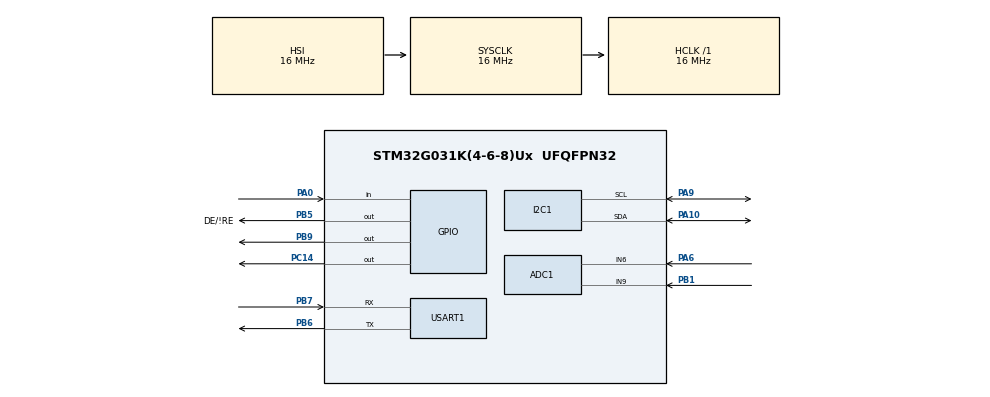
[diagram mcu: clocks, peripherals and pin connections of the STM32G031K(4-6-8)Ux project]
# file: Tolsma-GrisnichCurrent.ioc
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ADC1.Channel-0\#ChannelRegularConversion=ADC_CHANNEL_6
ADC1.NbrOfConversionFlag=1
ADC1.Rank-0\#ChannelRegularConversion=1
ADC1.SamplingTime-0\#ChannelRegularConversion=ADC_SAMPLINGTIME_COMMON_1
ADC1.SelectedChannel=ADC_CHANNEL_6|ADC_CHANNEL_9
ADC1.master=1
CRC.CRCLength=CRC_POLYLENGTH_8B
CRC.DefaultInitValueUse=DEFAULT_INIT_VALUE_ENABLE
CRC.DefaultPolynomialUse=DEFAULT_POLYNOMIAL_DISABLE
Dma.Request0=USART1_RX
Dma.USART1_RX.0.Direction=DMA_PERIPH_TO_MEMORY
Dma.USART1_RX.0.EventEnable=DISABLE
Dma.USART1_RX.0.Instance=DMA1_Channel1
Dma.USART1_RX.0.MemDataAlignment=DMA_MDATAALIGN_BYTE
Dma.USART1_RX.0.MemInc=DMA_MINC_ENABLE
Dma.USART1_RX.0.Mode=DMA_NORMAL
Dma.USART1_RX.0.PeriphDataAlignment=DMA_PDATAALIGN_BYTE
Dma.USART1_RX.0.PeriphInc=DMA_PINC_DISABLE
Dma.USART1_RX.0.Polarity=HAL_DMAMUX_REQ_GEN_RISING
Dma.USART1_RX.0.Priority=DMA_PRIORITY_HIGH
Dma.USART1_RX.0.RequestNumber=1
Dma.USART1_RX.0.SignalID=NONE
Dma.USART1_RX.0.SyncEnable=DISABLE
Dma.USART1_RX.0.SyncPolarity=HAL_DMAMUX_SYNC_NO_EVENT
Dma.USART1_RX.0.SyncRequestNumber=1
Dma.USART1_RX.0.SyncSignalID=NONE
FREERTOS.Mutexes01=CRCMutex,Dynamic,NULL,Available;ADCMutex,Dynamic,NULL,Available;UARTMutex,Dynamic,NULL,Available
FREERTOS.Queues01=uartDataQueue,4,uint32_t,0,Dynamic,NULL,NULL;stroomDataQueue,4,uint16_t,0,Dynamic,NULL,NULL;modeQueue,1,bool,0,Dynamic,NULL,NULL
FREERTOS.Tasks01=UartRegeling,0,128,StartUartRegeling,Default,NULL,Dynamic,NULL,NULL;Stroomregeling,-2,128,StartStroomregeling,Default,NULL,Dynamic,NULL,NULL;ModeSwitchTask,-3,128,StartModeSwitchTask,Default,NULL,Dynamic,NULL,NULL
FREERTOS.configUSE_NEWLIB_REENTRANT=0
I2C1.Timing=0x00503D58
Mcu.Family=STM32G0
Mcu.Name=STM32G031K(4-6-8)Ux
Mcu.Package=UFQFPN32
NVIC.DMA1_Channel1_IRQn=true\:3\:0\:false\:false\:true\:true\:false\:true\:true
NVIC.TIM1_BRK_UP_TRG_COM_IRQn=true\:3\:0\:false\:false\:true\:false\:false\:true\:true
NVIC.TimeBase=TIM1_BRK_UP_TRG_COM_IRQn
NVIC.TimeBaseIP=TIM1
NVIC.USART1_IRQn=true\:3\:0\:false\:false\:true\:true\:true\:true\:true
PA0.Signal=GPIO_Input
PA10.Mode=I2C
PA10.Signal=I2C1_SDA
PA13.Mode=Serial_Wire
PA13.Signal=SYS_SWDIO
PA14-BOOT0.Mode=Serial_Wire
PA14-BOOT0.Signal=SYS_SWCLK
PA6.Mode=IN6
PA6.Signal=ADC1_IN6
PA9.Mode=I2C
PA9.Signal=I2C1_SCL
PB1.Mode=IN9
PB1.Signal=ADC1_IN9
PB5.GPIO_Label=DE/\!RE
PB5.Signal=GPIO_Output
PB6.Mode=Asynchronous
PB6.Signal=USART1_TX
PB7.Mode=Asynchronous
PB7.Signal=USART1_RX
PB9.Signal=GPIO_Output
PC14-OSC32_IN\ (PC14).Signal=GPIO_Output
ProjectManager.HeapSize=0x200
ProjectManager.StackSize=0x400
ProjectManager.TargetToolchain=STM32CubeIDE
RCC.ADCFreq_Value=16000000
RCC.AHBFreq_Value=16000000
RCC.CortexFreq_Value=16000000
RCC.EXTERNAL_CLOCK_VALUE=12288000
RCC.HCLKFreq_Value=16000000
RCC.HSE_VALUE=8000000
RCC.HSI_VALUE=16000000
RCC.LSE_VALUE=32768
RCC.SYSCLKFreq_VALUE=16000000
RCC.VCOOutputFreq_Value=128000000
USART1.Parity=PARITY_NONE
USART1.SwapParam=ADVFEATURE_SWAP_ENABLE
USART1.VirtualMode-Asynchronous=VM_ASYNC
VP_CRC_VS_CRC.Mode=CRC_Activate
VP_FREERTOS_VS_CMSIS_V1.Mode=CMSIS_V1
VP_SYS_VS_tim1.Mode=TIM1
board=custom

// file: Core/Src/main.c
/* USER CODE BEGIN Header */
/**
  ******************************************************************************
  * @file           : main.c
  * @brief          : Main program body
  ******************************************************************************
  * @attention
  *
  * Copyright (c) 2025 STMicroelectronics.
  * All rights reserved.
  *
  * This software is licensed under terms that can be found in the LICENSE file
  * in the root directory of this software component.
  * If no LICENSE file comes with this software, it is provided AS-IS.
  *
  ******************************************************************************
  */
/* USER CODE END Header */
#include "main.h"
#include "cmsis_os.h"

/* USER CODE BEGIN Includes */
#include <stdbool.h>
#include <math.h>
/* USER CODE END Includes */

ADC_HandleTypeDef hadc1;

CRC_HandleTypeDef hcrc;

I2C_HandleTypeDef hi2c1;

UART_HandleTypeDef huart1;
DMA_HandleTypeDef hdma_usart1_rx;

osThreadId UartRegelingHandle;
osThreadId StroomregelingHandle;
osThreadId ModeSwitchTaskHandle;
osMessageQId uartDataQueueHandle;
osMessageQId stroomDataQueueHandle;
osMessageQId modeQueueHandle;
osMutexId CRCMutexHandle;
osMutexId ADCMutexHandle;
osMutexId UARTMutexHandle;
/* USER CODE BEGIN PV */

uint8_t adres = 1;
uint8_t RXData[4];
bool stopRegelingFlag = false;
/* USER CODE END PV */

void SystemClock_Config(void);
static void MX_GPIO_Init(void);
static void MX_DMA_Init(void);
static void MX_ADC1_Init(void);
static void MX_I2C1_Init(void);
static void MX_USART1_UART_Init(void);
static void MX_CRC_Init(void);
void StartUartRegeling(void const * argument);
void StartStroomregeling(void const * argument);
void StartModeSwitchTask(void const * argument);

/* USER CODE BEGIN 0 */

//check of werkt
void calculateMessage(uint16_t data, uint8_t adress, uint8_t* TXData)
{
    // Vul het frame
    TXData[0] = adress;
    TXData[1] = (data >> 8) & 0x0F;   // bovenste 4 bits van 12-bit data
    TXData[2] = data & 0xFF;          // onderste 8 bits

    osMutexWait(CRCMutexHandle, osWaitForever);  // Mutex CRC aan

    //3 bytes array naar een uint32_t
    uint32_t crc_input =	((uint32_t)TXData[0] << 24) |
    						((uint32_t)TXData[1] << 16) |
							((uint32_t)TXData[2] << 8);

    TXData[3] = (uint8_t)HAL_CRC_Calculate(&hcrc, &crc_input, 1);
    __HAL_CRC_DR_RESET(&hcrc);	// Reset CRC
    osMutexRelease(CRCMutexHandle);     // Geef mutex terug
}

bool checkCRCMessage(uint8_t *RXData)
{
	//Mutex claimen
	osMutexWait(CRCMutexHandle, osWaitForever);

    uint32_t crc_input =	((uint32_t)RXData[0] << 24) |
    						((uint32_t)RXData[1] << 16) |
							((uint32_t)RXData[2] << 8);

    uint8_t crc = (uint8_t)HAL_CRC_Calculate(&hcrc, &crc_input, 1);
    //Reset CRC
    __HAL_CRC_DR_RESET(&hcrc);

    //Mutex loslaten
    osMutexRelease(CRCMutexHandle);

    return (crc == RXData[3]);
}

bool isAdresCorrect(uint8_t *RXData, uint8_t adres){
	return (adres == RXData[0]);
}

//Called bij een uart interrupt klaar
void HAL_UART_RxCpltCallback(UART_HandleTypeDef *huart){
    if (huart->Instance != USART1){
    	return;
    }

    //Combineert de 4 byte array en stuurt naar task
    uint32_t RXData32 = ((uint32_t)RXData[0] << 24) |
                		((uint32_t)RXData[1] << 16) |
						((uint32_t)RXData[2] << 8)  |
						((uint32_t)RXData[3]);
    BaseType_t xHigherPriorityTaskWoken = pdFALSE;
	xQueueSendFromISR(uartDataQueueHandle, &RXData32, &xHigherPriorityTaskWoken);
	portYIELD_FROM_ISR(xHigherPriorityTaskWoken);

    //klaar voor volgend bericht
    HAL_GPIO_WritePin(GPIOB, GPIO_PIN_5, GPIO_PIN_RESET); //Receive mode
    //HAL_Delay(10);
	HAL_UART_Receive_DMA(&huart1, RXData, 4);
}

int16_t ADCtoStroom(uint16_t adc_value)
{
	const uint16_t ADC4m  = 891;
	const uint16_t ADC20m = 3883;

    // lineair, ook onder 4m en boven 20m
    return ((int16_t)(adc_value - ADC4m) * 4096) / (ADC20m - ADC4m);
}

void sendDAC(uint16_t DACData){
	//Stuur DAC aan op basis van 12 bit waarde
	//Zonder MUTEX, want maar 1 plek gebruikt het
	if(DACData > 0x0FFF){
		DACData = 0x0FFF;
	}

    uint8_t buffer[3];
    buffer[0] = 0x40;            		// Command byte
    buffer[1] = (DACData >> 4) & 0xFF; 	// Upper 8 bits
    buffer[2] = (DACData & 0x0F) << 4; 	// Lower 4 bits

    //I2C DAC aansturing
    HAL_I2C_Master_Transmit(&hi2c1, (0x61 << 1), buffer, 3, HAL_MAX_DELAY);
}

uint16_t ADCChannelSamples(uint32_t channel, uint8_t ADCSamples)
{
    uint32_t sum = 0;
    ADC_ChannelConfTypeDef sConfig = {0};

    // Mutex claimen
    osMutexWait(ADCMutexHandle, osWaitForever);

    // Channel instellen
    sConfig.Channel = channel;
    sConfig.Rank = ADC_REGULAR_RANK_1;
    sConfig.SamplingTime = ADC_SAMPLINGTIME_COMMON_1;
    HAL_ADC_ConfigChannel(&hadc1, &sConfig);

    // Averaging
    for (uint8_t i = 0; i < ADCSamples; i++) {
        HAL_ADC_Start(&hadc1);
        HAL_ADC_PollForConversion(&hadc1, HAL_MAX_DELAY);
        sum += HAL_ADC_GetValue(&hadc1);
        HAL_ADC_Stop(&hadc1);
    }

    // Mutex loslaten
    osMutexRelease(ADCMutexHandle);

    return (uint16_t)(sum / ADCSamples);
}

static inline float clampf(float x, float min, float max)
{
    if (x < min) return min;
    if (x > max) return max;
    return x;
}

/* USER CODE END 0 */

int main(void)
{

  /* MCU Configuration--------------------------------------------------------*/

  /* Reset of all peripherals, Initializes the Flash interface and the Systick. */
  HAL_Init();

  /* Configure the system clock */
  SystemClock_Config();

  /* Initialize all configured peripherals */
  MX_GPIO_Init();
  MX_DMA_Init();
  MX_ADC1_Init();
  MX_I2C1_Init();
  MX_USART1_UART_Init();
  MX_CRC_Init();
  /* USER CODE BEGIN 2 */

  HAL_GPIO_WritePin(GPIOB, GPIO_PIN_5, GPIO_PIN_RESET); //Receive mode
  HAL_Delay(100);
  HAL_UART_Receive_DMA(&huart1, RXData, 4);

  sendDAC((uint16_t)0);

  /* USER CODE END 2 */

  /* Create the mutex(es) */
  /* definition and creation of CRCMutex */
  osMutexDef(CRCMutex);
  CRCMutexHandle = osMutexCreate(osMutex(CRCMutex));

  /* definition and creation of ADCMutex */
  osMutexDef(ADCMutex);
  ADCMutexHandle = osMutexCreate(osMutex(ADCMutex));

  /* definition and creation of UARTMutex */
  osMutexDef(UARTMutex);
  UARTMutexHandle = osMutexCreate(osMutex(UARTMutex));

  /* Create the queue(s) */
  /* definition and creation of uartDataQueue */
  osMessageQDef(uartDataQueue, 4, uint32_t);
  uartDataQueueHandle = osMessageCreate(osMessageQ(uartDataQueue), NULL);

  /* definition and creation of stroomDataQueue */
  osMessageQDef(stroomDataQueue, 4, uint16_t);
  stroomDataQueueHandle = osMessageCreate(osMessageQ(stroomDataQueue), NULL);

  /* definition and creation of modeQueue */
  osMessageQDef(modeQueue, 1, bool);
  modeQueueHandle = osMessageCreate(osMessageQ(modeQueue), NULL);

  /* Create the thread(s) */
  /* definition and creation of UartRegeling */
  osThreadDef(UartRegeling, StartUartRegeling, osPriorityNormal, 0, 128);
  UartRegelingHandle = osThreadCreate(osThread(UartRegeling), NULL);

  /* definition and creation of Stroomregeling */
  osThreadDef(Stroomregeling, StartStroomregeling, osPriorityLow, 0, 128);
  StroomregelingHandle = osThreadCreate(osThread(Stroomregeling), NULL);

  /* definition and creation of ModeSwitchTask */
  osThreadDef(ModeSwitchTask, StartModeSwitchTask, osPriorityIdle, 0, 128);
  ModeSwitchTaskHandle = osThreadCreate(osThread(ModeSwitchTask), NULL);

  /* Start scheduler */
  osKernelStart();

  /* We should never get here as control is now taken by the scheduler */

  /* Infinite loop */
  while (1)
  {

  }
}

void SystemClock_Config(void)
{
  RCC_OscInitTypeDef RCC_OscInitStruct = {0};
  RCC_ClkInitTypeDef RCC_ClkInitStruct = {0};

  /** Configure the main internal regulator output voltage
  */
  HAL_PWREx_ControlVoltageScaling(PWR_REGULATOR_VOLTAGE_SCALE1);

  /** Initializes the RCC Oscillators according to the specified parameters
  * in the RCC_OscInitTypeDef structure.
  */
  RCC_OscInitStruct.OscillatorType = RCC_OSCILLATORTYPE_HSI;
  RCC_OscInitStruct.HSIState = RCC_HSI_ON;
  RCC_OscInitStruct.HSIDiv = RCC_HSI_DIV1;
  RCC_OscInitStruct.HSICalibrationValue = RCC_HSICALIBRATION_DEFAULT;
  RCC_OscInitStruct.PLL.PLLState = RCC_PLL_NONE;
  if (HAL_RCC_OscConfig(&RCC_OscInitStruct) != HAL_OK)
  {
    Error_Handler();
  }

  /** Initializes the CPU, AHB and APB buses clocks
  */
  RCC_ClkInitStruct.ClockType = RCC_CLOCKTYPE_HCLK|RCC_CLOCKTYPE_SYSCLK
                              |RCC_CLOCKTYPE_PCLK1;
  RCC_ClkInitStruct.SYSCLKSource = RCC_SYSCLKSOURCE_HSI;
  RCC_ClkInitStruct.AHBCLKDivider = RCC_SYSCLK_DIV1;
  RCC_ClkInitStruct.APB1CLKDivider = RCC_HCLK_DIV1;

  if (HAL_RCC_ClockConfig(&RCC_ClkInitStruct, FLASH_LATENCY_0) != HAL_OK)
  {
    Error_Handler();
  }
}

static void MX_ADC1_Init(void)
{

  ADC_ChannelConfTypeDef sConfig = {0};

  /** Configure the global features of the ADC (Clock, Resolution, Data Alignment and number of conversion)
  */
  hadc1.Instance = ADC1;
  hadc1.Init.ClockPrescaler = ADC_CLOCK_SYNC_PCLK_DIV2;
  hadc1.Init.Resolution = ADC_RESOLUTION_12B;
  hadc1.Init.DataAlign = ADC_DATAALIGN_RIGHT;
  hadc1.Init.ScanConvMode = ADC_SCAN_DISABLE;
  hadc1.Init.EOCSelection = ADC_EOC_SINGLE_CONV;
  hadc1.Init.LowPowerAutoWait = DISABLE;
  hadc1.Init.LowPowerAutoPowerOff = DISABLE;
  hadc1.Init.ContinuousConvMode = DISABLE;
  hadc1.Init.NbrOfConversion = 1;
  hadc1.Init.DiscontinuousConvMode = DISABLE;
  hadc1.Init.ExternalTrigConv = ADC_SOFTWARE_START;
  hadc1.Init.ExternalTrigConvEdge = ADC_EXTERNALTRIGCONVEDGE_NONE;
  hadc1.Init.DMAContinuousRequests = DISABLE;
  hadc1.Init.Overrun = ADC_OVR_DATA_PRESERVED;
  hadc1.Init.SamplingTimeCommon1 = ADC_SAMPLETIME_1CYCLE_5;
  hadc1.Init.SamplingTimeCommon2 = ADC_SAMPLETIME_1CYCLE_5;
  hadc1.Init.OversamplingMode = DISABLE;
  hadc1.Init.TriggerFrequencyMode = ADC_TRIGGER_FREQ_HIGH;
  if (HAL_ADC_Init(&hadc1) != HAL_OK)
  {
    Error_Handler();
  }

  /** Configure Regular Channel
  */
  sConfig.Channel = ADC_CHANNEL_6;
  sConfig.Rank = ADC_REGULAR_RANK_1;
  sConfig.SamplingTime = ADC_SAMPLINGTIME_COMMON_1;
  if (HAL_ADC_ConfigChannel(&hadc1, &sConfig) != HAL_OK)
  {
    Error_Handler();
  }

}

static void MX_CRC_Init(void)
{

  hcrc.Instance = CRC;
  hcrc.Init.DefaultPolynomialUse = DEFAULT_POLYNOMIAL_DISABLE;
  hcrc.Init.DefaultInitValueUse = DEFAULT_INIT_VALUE_ENABLE;
  hcrc.Init.GeneratingPolynomial = 7;
  hcrc.Init.CRCLength = CRC_POLYLENGTH_8B;
  hcrc.Init.InputDataInversionMode = CRC_INPUTDATA_INVERSION_NONE;
  hcrc.Init.OutputDataInversionMode = CRC_OUTPUTDATA_INVERSION_DISABLE;
  hcrc.InputDataFormat = CRC_INPUTDATA_FORMAT_BYTES;
  if (HAL_CRC_Init(&hcrc) != HAL_OK)
  {
    Error_Handler();
  }

}

static void MX_I2C1_Init(void)
{

  hi2c1.Instance = I2C1;
  hi2c1.Init.Timing = 0x00503D58;
  hi2c1.Init.OwnAddress1 = 0;
  hi2c1.Init.AddressingMode = I2C_ADDRESSINGMODE_7BIT;
  hi2c1.Init.DualAddressMode = I2C_DUALADDRESS_DISABLE;
  hi2c1.Init.OwnAddress2 = 0;
  hi2c1.Init.OwnAddress2Masks = I2C_OA2_NOMASK;
  hi2c1.Init.GeneralCallMode = I2C_GENERALCALL_DISABLE;
  hi2c1.Init.NoStretchMode = I2C_NOSTRETCH_DISABLE;
  if (HAL_I2C_Init(&hi2c1) != HAL_OK)
  {
    Error_Handler();
  }

  /** Configure Analogue filter
  */
  if (HAL_I2CEx_ConfigAnalogFilter(&hi2c1, I2C_ANALOGFILTER_ENABLE) != HAL_OK)
  {
    Error_Handler();
  }

  /** Configure Digital filter
  */
  if (HAL_I2CEx_ConfigDigitalFilter(&hi2c1, 0) != HAL_OK)
  {
    Error_Handler();
  }

}

static void MX_USART1_UART_Init(void)
{

  huart1.Instance = USART1;
  huart1.Init.BaudRate = 115200;
  huart1.Init.WordLength = UART_WORDLENGTH_8B;
  huart1.Init.StopBits = UART_STOPBITS_1;
  huart1.Init.Parity = UART_PARITY_NONE;
  huart1.Init.Mode = UART_MODE_TX_RX;
  huart1.Init.HwFlowCtl = UART_HWCONTROL_NONE;
  huart1.Init.OverSampling = UART_OVERSAMPLING_16;
  huart1.Init.OneBitSampling = UART_ONE_BIT_SAMPLE_DISABLE;
  huart1.Init.ClockPrescaler = UART_PRESCALER_DIV1;
  huart1.AdvancedInit.AdvFeatureInit = UART_ADVFEATURE_SWAP_INIT;
  huart1.AdvancedInit.Swap = UART_ADVFEATURE_SWAP_ENABLE;
  if (HAL_UART_Init(&huart1) != HAL_OK)
  {
    Error_Handler();
  }
  if (HAL_UARTEx_SetTxFifoThreshold(&huart1, UART_TXFIFO_THRESHOLD_1_8) != HAL_OK)
  {
    Error_Handler();
  }
  if (HAL_UARTEx_SetRxFifoThreshold(&huart1, UART_RXFIFO_THRESHOLD_1_8) != HAL_OK)
  {
    Error_Handler();
  }
  if (HAL_UARTEx_DisableFifoMode(&huart1) != HAL_OK)
  {
    Error_Handler();
  }

}

static void MX_DMA_Init(void)
{

  /* DMA controller clock enable */
  __HAL_RCC_DMA1_CLK_ENABLE();

  /* DMA interrupt init */
  /* DMA1_Channel1_IRQn interrupt configuration */
  HAL_NVIC_SetPriority(DMA1_Channel1_IRQn, 3, 0);
  HAL_NVIC_EnableIRQ(DMA1_Channel1_IRQn);

}

static void MX_GPIO_Init(void)
{
  GPIO_InitTypeDef GPIO_InitStruct = {0};

  /* GPIO Ports Clock Enable */
  __HAL_RCC_GPIOB_CLK_ENABLE();
  __HAL_RCC_GPIOC_CLK_ENABLE();
  __HAL_RCC_GPIOA_CLK_ENABLE();

  /*Configure GPIO pin Output Level */
  HAL_GPIO_WritePin(GPIOB, GPIO_PIN_9|DE__RE_Pin, GPIO_PIN_RESET);

  /*Configure GPIO pin Output Level */
  HAL_GPIO_WritePin(GPIOC, GPIO_PIN_14, GPIO_PIN_RESET);

  /*Configure GPIO pins : PB9 DE__RE_Pin */
  GPIO_InitStruct.Pin = GPIO_PIN_9|DE__RE_Pin;
  GPIO_InitStruct.Mode = GPIO_MODE_OUTPUT_PP;
  GPIO_InitStruct.Pull = GPIO_NOPULL;
  GPIO_InitStruct.Speed = GPIO_SPEED_FREQ_LOW;
  HAL_GPIO_Init(GPIOB, &GPIO_InitStruct);

  /*Configure GPIO pin : PC14 */
  GPIO_InitStruct.Pin = GPIO_PIN_14;
  GPIO_InitStruct.Mode = GPIO_MODE_OUTPUT_PP;
  GPIO_InitStruct.Pull = GPIO_NOPULL;
  GPIO_InitStruct.Speed = GPIO_SPEED_FREQ_LOW;
  HAL_GPIO_Init(GPIOC, &GPIO_InitStruct);

  /*Configure GPIO pin : PA0 */
  GPIO_InitStruct.Pin = GPIO_PIN_0;
  GPIO_InitStruct.Mode = GPIO_MODE_INPUT;
  GPIO_InitStruct.Pull = GPIO_NOPULL;
  HAL_GPIO_Init(GPIOA, &GPIO_InitStruct);

}

void StartUartRegeling(void const * argument)
{
  /* USER CODE BEGIN 5 */

	uint32_t receivedRXData32;

  /* Infinite loop */
  for(;;)
  {
	  if(xQueueReceive(uartDataQueueHandle, &receivedRXData32, pdMS_TO_TICKS(50)) == pdTRUE){
		  //Stuurt zelfde data naar controller (adres 0)
		  uint8_t receivedRXData[4];
		  receivedRXData[0] = (receivedRXData32 >> 24) & 0xFF;
		  receivedRXData[1] = (receivedRXData32 >> 16) & 0xFF;
		  receivedRXData[2] = (receivedRXData32 >> 8)  & 0xFF;
		  receivedRXData[3] =  receivedRXData32        & 0xFF;

		  //Check of het adres en de CRC klopt
		  if(isAdresCorrect(receivedRXData, adres) && checkCRCMessage(receivedRXData)){
			  HAL_GPIO_WritePin(GPIOC, GPIO_PIN_14, GPIO_PIN_RESET); //Error led uit
			  uint16_t receiveStroomData = 	((uint16_t)receivedRXData[1] << 8) | receivedRXData[2];
			  uint8_t ack[4];
			  calculateMessage(receiveStroomData, 0, ack); //0 is de controller

			  //Stuur de ack
			  osMutexWait(UARTMutexHandle, osWaitForever);
			  HAL_GPIO_WritePin(GPIOB, GPIO_PIN_5, GPIO_PIN_SET); // Send mode
			  HAL_UART_Transmit(&huart1, ack, 4, HAL_MAX_DELAY);
			  HAL_GPIO_WritePin(GPIOB, GPIO_PIN_5, GPIO_PIN_RESET); //Receive mode
			  osMutexRelease(UARTMutexHandle);

			  //Via queue naar andere task sturen die de stroom regelt receiveStroomData
			  xQueueGenericSend(stroomDataQueueHandle, &receiveStroomData, portMAX_DELAY, queueSEND_TO_BACK);
		  } else{
			  //Adres of CRC klopte niet
			  HAL_GPIO_WritePin(GPIOC, GPIO_PIN_14, GPIO_PIN_SET); //Error led aan
		  }
	  }
	  osDelay(10);
  }
  /* USER CODE END 5 */
}

void StartStroomregeling(void const * argument)
{
  /* USER CODE BEGIN StartStroomregeling */
  /* Infinite loop */

	bool modeRegeling = 0;

	uint16_t stroomData = 0;	//startwaarde stroom
	float kp = 0.2f; 			//P regeling factor
	float ki = 0.004f; 			//I regeling factor
	float integral = 0.0f;		//integraal waarde
	float maxintegraal = 2000.0f;
	float DACData = 0; 			//DAC begin waarde

	//0.01 mA afwijking toestaan voor stabiele waarde
	#define dodeband (0.01f * 4096.0f / 16.0f)

  for(;;)
  {
	  if (xQueueReceive(modeQueueHandle, &modeRegeling, pdMS_TO_TICKS(50)) == pdTRUE){
		  //modeRegeling is veranderd, dus reset alle waardes
		  integral = 0;
		  DACData = 0;
		  stopRegelingFlag = false;
	  }

	  if(modeRegeling){
		  //Interne regeling

		  //Ontvang de nieuwe stroomdata
		  if (xQueueReceive(stroomDataQueueHandle, &stroomData, pdMS_TO_TICKS(50)) == pdTRUE){
			  stopRegelingFlag = false;
			  osDelay(10);
		  }

		  if(stopRegelingFlag == false){
		  //ADC uitlezen
		  uint16_t adc_value = ADCChannelSamples(ADC_CHANNEL_6, 16); //6 is de stroomsense channel

		  //converteren naar stroomwaarde, 4-20mA is de range
		  int16_t huidigeStroomData = ADCtoStroom(adc_value);

		  //PI regeling
		  float error = (float)stroomData - (float)huidigeStroomData; // verschil

		  if(fabs(error) <= dodeband){
		  	stopRegelingFlag = true;
		  	continue;
		  }

		  integral += error; //integraal update
		  integral = clampf(integral, -maxintegraal, maxintegraal);
		  DACData += kp * error + ki * integral; // pas DAC waarde aan (PI)

		  // Limiet
		  if (DACData > 4095.0f) {
		      DACData = 4095.0f;
		      if (error > 0){
		    	  integral -= error; //anti windum
		      }
		  }
		  if (DACData < 0.0f) {
		      DACData = 0.0f;
		      integral -= error;
		  }

		  // DAC aansturen op basis van de regeling
		  sendDAC((uint16_t)DACData);
		  }
	  } else{
		  //Externe regeling

		  //Ontvang de nieuwe stroomdata
		  if (xQueueReceive(stroomDataQueueHandle, &stroomData, pdMS_TO_TICKS(50)) == pdTRUE){
			  osDelay(10);

			  //ADC uitlezen
			  uint16_t adc_value = ADCChannelSamples(ADC_CHANNEL_6, 16); //6 is de stroomsense channel

			  //converteren naar stroomwaarde, 4-20mA is de range
			  int16_t huidigeStroomData = ADCtoStroom(adc_value);

			  //huidigeStroomData terugsturen
			  uint8_t TXData[4];
			  calculateMessage((uint16_t)huidigeStroomData, 0, TXData); //0 is de controller

			  // Stuur TXData via RS485
			  osMutexWait(UARTMutexHandle, osWaitForever);
			  HAL_GPIO_WritePin(GPIOB, GPIO_PIN_5, GPIO_PIN_SET); // Send mode
			  HAL_UART_Transmit(&huart1, TXData, 4, HAL_MAX_DELAY);
			  HAL_GPIO_WritePin(GPIOB, GPIO_PIN_5, GPIO_PIN_RESET); // Receive mode
			  osMutexRelease(UARTMutexHandle);
		  }
	  }
    osDelay(50);
  }
  /* USER CODE END StartStroomregeling */
}

void StartModeSwitchTask(void const * argument)
{
  /* USER CODE BEGIN StartModeSwitchTask */
  /* Infinite loop */

	//1 is intern, 0 is extern
	bool regelingMode = 1;

  for(;;)
  {
	HAL_GPIO_TogglePin(GPIOB, GPIO_PIN_9); //Running led

	 uint16_t adc_value = ADCChannelSamples(ADC_CHANNEL_9, 16); //9 is de externe V channel

	if((adc_value >= 620) && (regelingMode == 1)){ //rond een halve volt over de ADC, rond 1,5V voor extV
		//Intern naar extern
		regelingMode = 0;
        xQueueGenericSend(modeQueueHandle, &regelingMode, portMAX_DELAY, queueSEND_TO_BACK);
	}
	//4 mA voor 51 ohm is adc 82, onder de 70 zal er dus geen regeling zijn
	if((adc_value <= 70) && (regelingMode == 0)){
		//Extern naar intern
		regelingMode = 1;
        xQueueGenericSend(modeQueueHandle, &regelingMode, portMAX_DELAY, queueSEND_TO_BACK);
	}

    osDelay(1000);
  }
  /* USER CODE END StartModeSwitchTask */
}

void HAL_TIM_PeriodElapsedCallback(TIM_HandleTypeDef *htim)
{
  if (htim->Instance == TIM1)
  {
    HAL_IncTick();
  }
}

void Error_Handler(void)
{
  __disable_irq();
  while (1)
  {
  }
}
